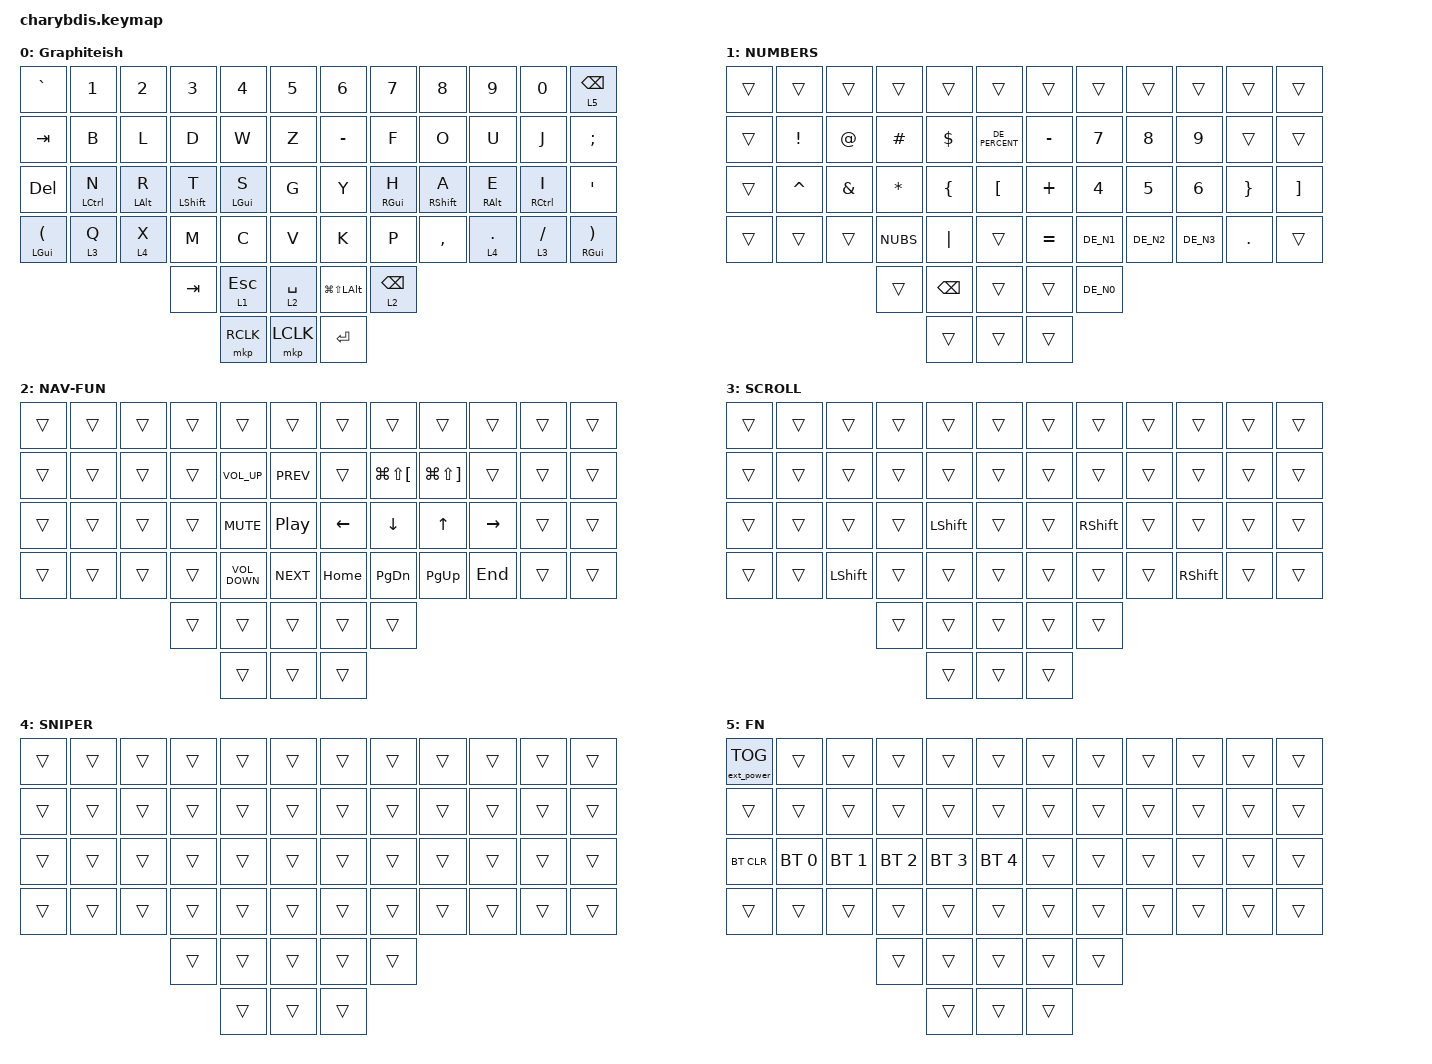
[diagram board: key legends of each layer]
#include "keys_de_swiss.h"
#include <dt-bindings/zmk/mouse.h>
#include <behaviors/mouse_keys.dtsi>
#include <behaviors.dtsi>
#include <dt-bindings/zmk/bt.h>
#include <dt-bindings/zmk/ext_power.h>
#include <dt-bindings/zmk/keys.h>
#include <dt-bindings/zmk/pointing.h>

// / {
//     chosen { zmk,matrix_transform = &default_transform; };
// };

/ {
    /* input config for mouse move mode */

    trackball_listener {
        compatible = "zmk,input-behavior-listener";
        device = <&vtrackball>;
        layers = <0 6>;
        evt-type = <INPUT_EV_REL>;
        x-input-code = <INPUT_REL_X>;
        y-input-code = <INPUT_REL_Y>;
        scale-multiplier = <1>;
        scale-divisor = <2>;

        // bindings = <&ib_toggle_layer 7>;
    };

    /* input config for snipe mode */

    trackball_snipe_listener {
        compatible = "zmk,input-behavior-listener";
        device = <&vtrackball>;
        layers = <4>;
        evt-type = <INPUT_EV_REL>;
        x-input-code = <INPUT_REL_X>;
        y-input-code = <INPUT_REL_Y>;
        scale-multiplier = <1>;
        scale-divisor = <4>;
    };

    /* input config for mouse scroll mode */

    trackball_scroll_listener {
        compatible = "zmk,input-behavior-listener";
        device = <&vtrackball>;
        layers = <3>;
        evt-type = <INPUT_EV_REL>;
        x-input-code = <INPUT_REL_MISC>;
        y-input-code = <INPUT_REL_WHEEL>;
        y-invert;
        bindings = <&ib_wheel_scaler 1 16>;
    };

    /* define a resolution down scaler only for INPUT_REL_WHEEL */

    ib_wheel_scaler: ib_wheel_scaler {
        compatible = "zmk,input-behavior-scaler";
        #binding-cells = <2>;
        evt-type = <INPUT_EV_REL>;
        input-code = <INPUT_REL_WHEEL>;
    };

    /* adjust cooldown waiting period for mouse key layer after activated */

    ib_toggle_layer: ib_toggle_layer {
        compatible = "zmk,input-behavior-tog-layer";
        #binding-cells = <1>;
        time-to-live-ms = <750>;
    };

    combos {
        compatible = "zmk,combos";

        to-FN {
            bindings = <&to 5>;
            key-positions = <41 42>;
            layers = <0>;
        };

        caps_word {
            bindings = <&caps_word>;
            key-positions = <31 28>;
            layers = <1>;
        };

        lh_middleClick {
            bindings = <&mkp MCLK>;
            key-positions = <38 39 40>;
        };

        CAPZ {
            bindings = <&kp CAPSLOCK>;
            key-positions = <24 25>;
        };
    };

    behaviors {
        hmr: hmr {
            compatible = "zmk,behavior-hold-tap";
            label = "HMR";
            bindings = <&kp>, <&kp>;

            #binding-cells = <2>;
            tapping-term-ms = <190>;
            quick-tap-ms = <175>;
            flavor = "tap-preferred";
            hold-trigger-key-positions = <0 1 2 3 4 5 12 13 14 15 16 17 24 25 26 27 28 29 36 37 38 39 40 41 48 49 50 53 54 51 52 55>;
            hold-trigger-on-release;
        };

        hml: hml {
            compatible = "zmk,behavior-hold-tap";
            label = "HML";
            bindings = <&kp>, <&kp>;

            #binding-cells = <2>;
            tapping-term-ms = <190>;
            quick-tap-ms = <175>;
            flavor = "tap-preferred";
            hold-trigger-key-positions = <48 49 50 53 54 51 52 55 6 7 8 9 10 11 18 19 20 21 22 23 30 31 32 33 34 35 42 43 44 45 46 47 51 52>;
            hold-trigger-on-release;
        };
    };

    keymap {
        compatible = "zmk,keymap";

        default_lin_layer {
            bindings = <
&kp GRAVE              &kp N1               &kp N2           &kp N3             &kp N4           &kp N5         &kp N6                &kp N7            &kp N8              &kp N9            &kp N0                &lt 5 BACKSPACE
&kp TAB                &kp B                &kp L            &kp D              &kp W            &kp Z          &kp MINUS             &kp F             &kp O               &kp U             &kp J                 &kp SEMI
&kp DELETE             &hml LEFT_CONTROL N  &hml LEFT_ALT R  &hml LEFT_SHIFT T  &hml LEFT_GUI S  &kp G          &kp Y                 &hmr RIGHT_GUI H  &hmr RIGHT_SHIFT A  &hmr RIGHT_ALT E  &hmr RIGHT_CONTROL I  &kp APOS
&mt LEFT_GUI LPAR  &lt 3 Q              &lt 4 X          &kp M              &kp C            &kp V          &kp K                 &kp P             &kp COMMA           &lt 4 DOT         &lt 3 FSLH            &mt RIGHT_GUI RPAR
                                                             &kp TAB            &lt 1 ESCAPE     &lt 2 SPACE    &kp LG(LS(LEFT_ALT))  &lt 2 BACKSPACE
                                                                                &mkp RCLK        &mkp LCLK      &kp ENTER
            >;

            label = "Graphiteish";
        };

        lin_raise_layer {
            bindings = <
&trans  &trans              &trans    &trans     &trans         &trans            &trans       &trans        &trans        &trans     &trans    &trans
&trans  &kp EXCLAMATION  &kp AT    &kp POUND  &kp DLLR       &kp DE_PERCENT    &kp MINUS    &kp N7        &kp N8        &kp N9     &trans    &trans
&trans  &kp CARET   &kp AMPS  &kp ASTRK  &kp LBRC       &kp LBKT          &kp PLUS  &kp NUMBER_4  &kp NUMBER_5  &kp N6     &kp RBRC  &kp RBKT
&trans  &trans              &trans    &kp NUBS   &kp PIPE       &trans            &kp EQUAL    &kp DE_N1     &kp DE_N2     &kp DE_N3  &kp DOT   &trans
                                      &trans     &kp BACKSPACE  &trans            &trans       &kp DE_N0
                                                 &trans         &trans            &trans
            >;

            label = "NUMBERS";
        };

        lin_lower_layer {
            bindings = <
&trans  &trans  &trans  &trans  &trans             &trans              &trans          &trans          &trans        &trans     &trans  &trans
&trans  &trans  &trans  &trans  &kp C_VOLUME_UP    &kp C_PREV          &trans          &kp LG(LS(LBKT))    &kp LG(LS(RBKT))  &trans     &trans  &trans
&trans  &trans  &trans  &trans  &kp C_MUTE         &kp C_PLAY_PAUSE    &kp LEFT_ARROW  &kp DOWN_ARROW  &kp UP        &kp RIGHT  &trans  &trans
&trans  &trans  &trans  &trans  &kp C_VOLUME_DOWN  &kp C_NEXT          &kp HOME        &kp PAGE_DOWN   &kp PAGE_UP   &kp END    &trans  &trans
                        &trans  &trans             &trans              &trans          &trans
                                &trans             &trans              &trans
            >;

            label = "NAV-FUN";
        };

        scroll_layer {
            bindings = <
&trans  &trans  &trans          &trans  &trans          &trans    &trans  &trans           &trans  &trans           &trans  &trans
&trans  &trans  &trans          &trans  &trans          &trans    &trans  &trans           &trans  &trans           &trans  &trans
&trans  &trans  &trans          &trans  &kp LEFT_SHIFT  &trans    &trans  &kp RIGHT_SHIFT  &trans  &trans           &trans  &trans
&trans  &trans  &kp LEFT_SHIFT  &trans  &trans          &trans    &trans  &trans           &trans  &kp RIGHT_SHIFT  &trans  &trans
                                &trans  &trans          &trans    &trans  &trans
                                        &trans          &trans    &trans
            >;

            label = "SCROLL";
        };

        sniper_layer {
            bindings = <
&trans  &trans  &trans  &trans  &trans  &trans    &trans  &trans  &trans  &trans  &trans  &trans
&trans  &trans  &trans  &trans  &trans  &trans    &trans  &trans  &trans  &trans  &trans  &trans
&trans  &trans  &trans  &trans  &trans  &trans    &trans  &trans  &trans  &trans  &trans  &trans
&trans  &trans  &trans  &trans  &trans  &trans    &trans  &trans  &trans  &trans  &trans  &trans
                        &trans  &trans  &trans    &trans  &trans
                                &trans  &trans    &trans
            >;

            label = "SNIPER";
        };

        keeb_pref_layer {
            label = "FN";
            bindings = <
&ext_power EP_TOG  &trans        &trans        &trans        &trans        &trans          &trans  &trans  &trans  &trans  &trans  &trans
&trans             &trans        &trans        &trans        &trans        &trans          &trans  &trans  &trans  &trans  &trans  &trans
&bt BT_CLR         &bt BT_SEL 0  &bt BT_SEL 1  &bt BT_SEL 2  &bt BT_SEL 3  &bt BT_SEL 4    &trans  &trans  &trans  &trans  &trans  &trans
&trans             &trans        &trans        &trans        &trans        &trans          &trans  &trans  &trans  &trans  &trans  &trans
                                               &trans        &trans        &trans          &trans  &trans
                                                             &trans        &trans          &trans
            >;
        };
    };
};
